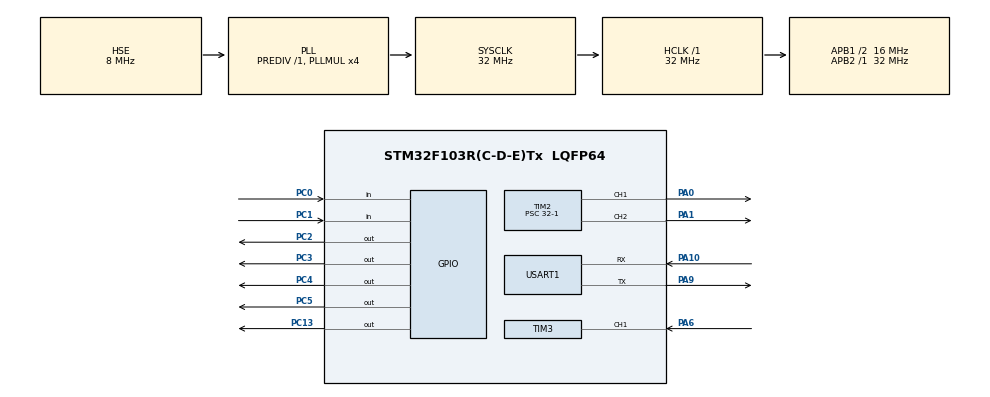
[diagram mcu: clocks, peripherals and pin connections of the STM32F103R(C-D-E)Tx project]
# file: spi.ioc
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Mcu.Family=STM32F1
Mcu.Name=STM32F103R(C-D-E)Tx
Mcu.Package=LQFP64
NVIC.PriorityGroup=NVIC_PRIORITYGROUP_4
NVIC.TIM2_IRQn=true\:0\:0\:false\:true\:true\:1\:true
NVIC.TIM3_IRQn=true\:0\:0\:false\:true\:true\:2\:true
PA0-WKUP.Signal=S_TIM2_CH1_ETR
PA1.Signal=S_TIM2_CH2
PA10.Mode=Asynchronous
PA10.Signal=USART1_RX
PA13.Mode=Serial_Wire
PA13.Signal=SYS_JTMS-SWDIO
PA14.Mode=Serial_Wire
PA14.Signal=SYS_JTCK-SWCLK
PA6.Signal=S_TIM3_CH1
PA9.Mode=Asynchronous
PA9.Signal=USART1_TX
PC0.Signal=GPIO_Input
PC1.GPIO_PuPd=GPIO_PULLUP
PC1.Signal=GPIO_Input
PC13-TAMPER-RTC.GPIO_Speed=GPIO_SPEED_FREQ_HIGH
PC13-TAMPER-RTC.PinState=GPIO_PIN_SET
PC13-TAMPER-RTC.Signal=GPIO_Output
PC2.GPIO_Speed=GPIO_SPEED_FREQ_HIGH
PC2.PinState=GPIO_PIN_SET
PC2.Signal=GPIO_Output
PC3.GPIO_Speed=GPIO_SPEED_FREQ_HIGH
PC3.PinState=GPIO_PIN_SET
PC3.Signal=GPIO_Output
PC4.Signal=GPIO_Output
PC5.GPIO_Speed=GPIO_SPEED_FREQ_HIGH
PC5.PinState=GPIO_PIN_SET
PC5.Signal=GPIO_Output
PD0-OSC_IN.Mode=HSE-External-Oscillator
PD0-OSC_IN.Signal=RCC_OSC_IN
PD1-OSC_OUT.Mode=HSE-External-Oscillator
PD1-OSC_OUT.Signal=RCC_OSC_OUT
ProjectManager.HeapSize=0x200
ProjectManager.StackSize=0x400
ProjectManager.TargetToolchain=EWARM
RCC.AHBFreq_Value=32000000
RCC.APB1CLKDivider=RCC_HCLK_DIV2
RCC.APB1Freq_Value=16000000
RCC.APB1TimFreq_Value=32000000
RCC.APB2Freq_Value=32000000
RCC.APB2TimFreq_Value=32000000
RCC.HCLKFreq_Value=32000000
RCC.PLLMUL=RCC_PLL_MUL4
RCC.PLLSourceVirtual=RCC_PLLSOURCE_HSE
RCC.SYSCLKFreq_VALUE=32000000
RCC.SYSCLKSource=RCC_SYSCLKSOURCE_PLLCLK
RCC.USBFreq_Value=32000000
SH.S_TIM2_CH1_ETR.0=TIM2_CH1,PWM Generation1 CH1
SH.S_TIM2_CH2.0=TIM2_CH2,PWM Generation2 CH2
SH.S_TIM3_CH1.0=TIM3_CH1,Input_Capture1_from_TI1
TIM2.Channel-PWM\ Generation1\ CH1=TIM_CHANNEL_1
TIM2.Channel-PWM\ Generation2\ CH2=TIM_CHANNEL_2
TIM2.Period=1000-1
TIM2.Prescaler=32-1
TIM2.Pulse-PWM\ Generation1\ CH1=500
TIM2.Pulse-PWM\ Generation2\ CH2=300
TIM3.Channel-Input_Capture1_from_TI1=TIM_CHANNEL_1
TIM3.Period=0xffff
TIM3.Prescaler=32-1
USART1.VirtualMode=VM_ASYNC
VP_TIM2_VS_ClockSourceINT.Mode=Internal
VP_TIM3_VS_ClockSourceINT.Mode=Internal
board=custom

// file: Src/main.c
/**
  ******************************************************************************
  * @file           : main.c
  * @brief          : Main program body
  ******************************************************************************
  ** This notice applies to any and all portions of this file
  * that are not between comment pairs USER CODE BEGIN and
  * USER CODE END. Other portions of this file, whether
  * inserted by the user or by software development tools
  * are owned by their respective copyright owners.
  *
  * COPYRIGHT(c) 2018 STMicroelectronics
  *
  * Redistribution and use in source and binary forms, with or without modification,
  * are permitted provided that the following conditions are met:
  *   1. Redistributions of source code must retain the above copyright notice,
  *      this list of conditions and the following disclaimer.
  *   2. Redistributions in binary form must reproduce the above copyright notice,
  *      this list of conditions and the following disclaimer in the documentation
  *      and/or other materials provided with the distribution.
  *   3. Neither the name of STMicroelectronics nor the names of its contributors
  *      may be used to endorse or promote products derived from this software
  *      without specific prior written permission.
  *
  * THIS SOFTWARE IS PROVIDED BY THE COPYRIGHT HOLDERS AND CONTRIBUTORS "AS IS"
  * AND ANY EXPRESS OR IMPLIED WARRANTIES, INCLUDING, BUT NOT LIMITED TO, THE
  * IMPLIED WARRANTIES OF MERCHANTABILITY AND FITNESS FOR A PARTICULAR PURPOSE ARE
  * DISCLAIMED. IN NO EVENT SHALL THE COPYRIGHT HOLDER OR CONTRIBUTORS BE LIABLE
  * FOR ANY DIRECT, INDIRECT, INCIDENTAL, SPECIAL, EXEMPLARY, OR CONSEQUENTIAL
  * DAMAGES (INCLUDING, BUT NOT LIMITED TO, PROCUREMENT OF SUBSTITUTE GOODS OR
  * SERVICES; LOSS OF USE, DATA, OR PROFITS; OR BUSINESS INTERRUPTION) HOWEVER
  * CAUSED AND ON ANY THEORY OF LIABILITY, WHETHER IN CONTRACT, STRICT LIABILITY,
  * OR TORT (INCLUDING NEGLIGENCE OR OTHERWISE) ARISING IN ANY WAY OUT OF THE USE
  * OF THIS SOFTWARE, EVEN IF ADVISED OF THE POSSIBILITY OF SUCH DAMAGE.
  *
  ******************************************************************************
  */
#include "main.h"
#include "stm32f1xx_hal.h"
#include "tim.h"
#include "usart.h"
#include "gpio.h"

/* USER CODE BEGIN Includes */
#include "max31865.h"
#include <stdio.h>
#include <math.h>
/* USER CODE END Includes */

/* USER CODE BEGIN PV */
/* Private variables ---------------------------------------------------------*/
uint8_t Fault_Status,Fault_Status2;
float tempture,tempture2, motor_freq;
unsigned long int cap_val , cap_cnt;
/* USER CODE END PV */

void SystemClock_Config(void);
static void MX_NVIC_Init(void);

/* USER CODE BEGIN PFP */
/* Private function prototypes -----------------------------------------------*/

/* USER CODE END PFP */

/* USER CODE BEGIN 0 */
int fputc(int ch, FILE *f){
  /* Place your implementation of fputc here */
  /* e.g. write a character to the EVAL_COM1 and Loop until the end of transmission */
  HAL_UART_Transmit(&huart1, (uint8_t *)&ch, 1, 0xFFFF);

  return ch;
}
/* USER CODE END 0 */

int main(void)
{
  /* USER CODE BEGIN 1 */
  uint8_t TxData[10]= {0x0,0x1,0x2,0x3,0x4,0x5,0x6,0x7,0x8,0x9};
  float RPM = 0;
  float RPM_cnt = 0;
  /* USER CODE END 1 */

  /* MCU Configuration----------------------------------------------------------*/

  /* Reset of all peripherals, Initializes the Flash interface and the Systick. */
  HAL_Init();

  /* Configure the system clock */
  SystemClock_Config();

  /* Initialize all configured peripherals */
  MX_GPIO_Init();
  MX_USART1_UART_Init();
  MX_TIM2_Init();
  MX_TIM3_Init();

  /* Initialize interrupts */
  MX_NVIC_Init();
  /* USER CODE BEGIN 2 */
  HAL_TIM_Base_Start_IT(&htim2);
  HAL_TIM_Base_Start_IT(&htim3);

  HAL_TIM_PWM_Start(&htim2,TIM_CHANNEL_1);
  HAL_TIM_PWM_Start(&htim2,TIM_CHANNEL_2);

  HAL_TIM_IC_Start_IT(&htim3, TIM_CHANNEL_1);

  MAX31865_SB_Write(0x80,0xc1,1);//MAX31865 init (50Hz filter)
  Delay(0x1ffff);
  MAX31865_SB_Write(0x80,0xc1,2);
  Delay(0x1ffff);
  MAX31865_SB_Write(0x80,0xc1,1);
  //while(1){
  //printf("\n\r welcome to https://www.wangmumu.club !!!\n\r");
    //HAL_UART_Transmit(&huart1,TxData,10,0xffff);
   // HAL_USART_Transmit();//把TxData的内容通过uart2发送出去，长度是10，timeout的时间是最大值0xffff
   // Delay(0x1ffff);
  //}
  /* USER CODE END 2 */

  /* Infinite loop */
  while (1)
  {

  /* USER CODE BEGIN 3 */
    if(time_base_1khz == 100){
      time_base_1khz = 0;
      //Delay(0x1ffff);
      tempture=Get_tempture(1);
      //printf("%.3f    ",tempture);
      //Delay(0x1ffff);
      tempture2=Get_tempture(2);
     // printf("%.3f\n",tempture2);
      Fault_Status=MAX31865_SB_Read(0x07,1);//Get Fault_Status
      Fault_Status2=MAX31865_SB_Read(0x07,2);//Get Fault_Status
      RPM_cnt = cap_cnt*30;// /20*10*60;
      cap_cnt = 0;
      printf("cnt:%.3f   ",RPM_cnt);

      if(fabs(motor_freq/20*60 / RPM_cnt) > 2){
        motor_freq = cap_val;
      }
      printf("freq:%.3f\n",motor_freq);
      RPM = motor_freq / 20 * 60;
      motor_freq = 0;

      HAL_GPIO_TogglePin(GPIOC, GPIO_PIN_13);
    }
  }
  /* USER CODE END 3 */

}

void SystemClock_Config(void)
{

  RCC_OscInitTypeDef RCC_OscInitStruct;
  RCC_ClkInitTypeDef RCC_ClkInitStruct;

    /**Initializes the CPU, AHB and APB busses clocks
    */
  RCC_OscInitStruct.OscillatorType = RCC_OSCILLATORTYPE_HSE;
  RCC_OscInitStruct.HSEState = RCC_HSE_ON;
  RCC_OscInitStruct.HSEPredivValue = RCC_HSE_PREDIV_DIV1;
  RCC_OscInitStruct.HSIState = RCC_HSI_ON;
  RCC_OscInitStruct.PLL.PLLState = RCC_PLL_ON;
  RCC_OscInitStruct.PLL.PLLSource = RCC_PLLSOURCE_HSE;
  RCC_OscInitStruct.PLL.PLLMUL = RCC_PLL_MUL4;
  if (HAL_RCC_OscConfig(&RCC_OscInitStruct) != HAL_OK)
  {
    _Error_Handler(__FILE__, __LINE__);
  }

    /**Initializes the CPU, AHB and APB busses clocks
    */
  RCC_ClkInitStruct.ClockType = RCC_CLOCKTYPE_HCLK|RCC_CLOCKTYPE_SYSCLK
                              |RCC_CLOCKTYPE_PCLK1|RCC_CLOCKTYPE_PCLK2;
  RCC_ClkInitStruct.SYSCLKSource = RCC_SYSCLKSOURCE_PLLCLK;
  RCC_ClkInitStruct.AHBCLKDivider = RCC_SYSCLK_DIV1;
  RCC_ClkInitStruct.APB1CLKDivider = RCC_HCLK_DIV2;
  RCC_ClkInitStruct.APB2CLKDivider = RCC_HCLK_DIV1;

  if (HAL_RCC_ClockConfig(&RCC_ClkInitStruct, FLASH_LATENCY_1) != HAL_OK)
  {
    _Error_Handler(__FILE__, __LINE__);
  }

    /**Configure the Systick interrupt time
    */
  HAL_SYSTICK_Config(HAL_RCC_GetHCLKFreq()/1000);

    /**Configure the Systick
    */
  HAL_SYSTICK_CLKSourceConfig(SYSTICK_CLKSOURCE_HCLK);

  /* SysTick_IRQn interrupt configuration */
  HAL_NVIC_SetPriority(SysTick_IRQn, 0, 0);
}

/**
  * @brief NVIC Configuration.
  * @retval None
  */
static void MX_NVIC_Init(void)
{
  /* TIM2_IRQn interrupt configuration */
  HAL_NVIC_SetPriority(TIM2_IRQn, 0, 0);
  HAL_NVIC_EnableIRQ(TIM2_IRQn);
  /* TIM3_IRQn interrupt configuration */
  HAL_NVIC_SetPriority(TIM3_IRQn, 0, 0);
  HAL_NVIC_EnableIRQ(TIM3_IRQn);
}

void _Error_Handler(char *file, int line)
{
  while(1)
  {
  }
}

/************************ (C) COPYRIGHT STMicroelectronics *****END OF FILE****/
